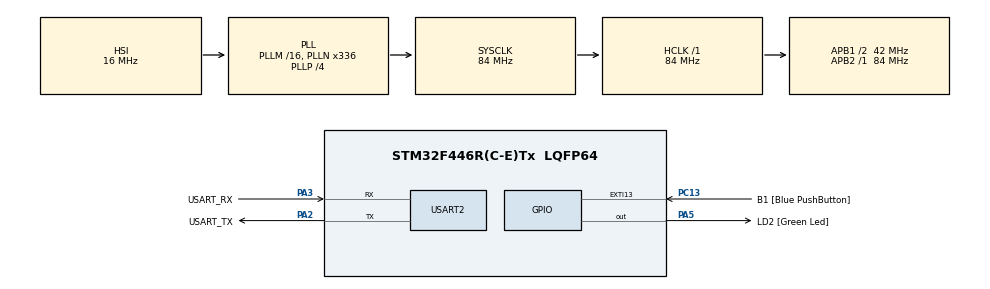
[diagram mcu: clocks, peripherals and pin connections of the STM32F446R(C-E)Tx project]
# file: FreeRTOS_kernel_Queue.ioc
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Mcu.Family=STM32F4
Mcu.Name=STM32F446R(C-E)Tx
Mcu.Package=LQFP64
NVIC.EXTI15_10_IRQn=true\:0\:0\:false\:false\:true\:true\:true\:true
NVIC.PriorityGroup=NVIC_PRIORITYGROUP_4
NVIC.TIM6_DAC_IRQn=true\:0\:0\:false\:false\:true\:false\:true\:true
NVIC.TimeBase=TIM6_DAC_IRQn
NVIC.TimeBaseIP=TIM6
PA13.GPIO_Label=TMS
PA13.Mode=Serial_Wire
PA13.Signal=SYS_JTMS-SWDIO
PA14.GPIO_Label=TCK
PA14.Mode=Serial_Wire
PA14.Signal=SYS_JTCK-SWCLK
PA2.GPIO_Label=USART_TX
PA2.Mode=Asynchronous
PA2.Signal=USART2_TX
PA3.GPIO_Label=USART_RX
PA3.Mode=Asynchronous
PA3.Signal=USART2_RX
PA5.GPIO_Label=LD2 [Green Led]
PA5.Signal=GPIO_Output
PB3.GPIO_Label=SWO
PB3.Signal=SYS_JTDO-SWO
PC13.GPIO_Label=B1 [Blue PushButton]
PC13.GPIO_ModeDefaultEXTI=GPIO_MODE_IT_FALLING
PC13.Signal=GPXTI13
PC14-OSC32_IN.Mode=LSE-External-Oscillator
PC14-OSC32_IN.Signal=RCC_OSC32_IN
PC15-OSC32_OUT.Mode=LSE-External-Oscillator
PC15-OSC32_OUT.Signal=RCC_OSC32_OUT
PH0-OSC_IN.Mode=HSE-External-Oscillator
PH0-OSC_IN.Signal=RCC_OSC_IN
PH1-OSC_OUT.Mode=HSE-External-Oscillator
PH1-OSC_OUT.Signal=RCC_OSC_OUT
ProjectManager.HeapSize=0x200
ProjectManager.StackSize=0x400
ProjectManager.TargetToolchain=STM32CubeIDE
RCC.48MHZClocksFreq_Value=84000000
RCC.AHBFreq_Value=84000000
RCC.APB1CLKDivider=RCC_HCLK_DIV2
RCC.APB1Freq_Value=42000000
RCC.APB1TimFreq_Value=84000000
RCC.APB2Freq_Value=84000000
RCC.APB2TimFreq_Value=84000000
RCC.CortexFreq_Value=84000000
RCC.FLatency-AdvancedSettings=FLASH_LATENCY_2
RCC.HCLKFreq_Value=84000000
RCC.HSE_VALUE=8000000
RCC.HSI_VALUE=16000000
RCC.PLLN=336
RCC.PLLP=RCC_PLLP_DIV4
RCC.SYSCLKFreq_VALUE=84000000
RCC.SYSCLKSource=RCC_SYSCLKSOURCE_PLLCLK
RCC.USBFreq_Value=168000000
RCC.VCOOutputFreq_Value=336000000
USART2.VirtualMode=VM_ASYNC
VP_SYS_VS_tim6.Mode=TIM6
board=NUCLEO-F446RE

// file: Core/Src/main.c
/* USER CODE BEGIN Header */
/**
  ******************************************************************************
  * @file           : main.c
  * @brief          : Main program body
  ******************************************************************************
  * @attention
  *
  * Copyright (c) 2025 STMicroelectronics.
  * All rights reserved.
  *
  * This software is licensed under terms that can be found in the LICENSE file
  * in the root directory of this software component.
  * If no LICENSE file comes with this software, it is provided AS-IS.
  *
  ******************************************************************************
  */
/* USER CODE END Header */
#include "main.h"

/* USER CODE BEGIN Includes */
#include "FreeRTOS.h"
#include "task.h"
#include "queue.h"
#include <string.h>
#include <stdio.h>
/* USER CODE END Includes */

UART_HandleTypeDef huart2;

/* USER CODE BEGIN PV */

QueueHandle_t buttonQueue;   // Queue handle

typedef struct
{
    uint8_t ledState;
    uint32_t timestamp;
} ButtonEvent;

/* USER CODE END PV */

void SystemClock_Config(void);
static void MX_GPIO_Init(void);
static void MX_USART2_UART_Init(void);
/* USER CODE BEGIN PFP */

void LED_Task(void *pvParameters);
void UART_Task(void *pvParameters);

/* USER CODE END PFP */

int main(void)
{

  /* MCU Configuration--------------------------------------------------------*/

  /* Reset of all peripherals, Initializes the Flash interface and the Systick. */
  HAL_Init();

  /* Configure the system clock */
  SystemClock_Config();

  /* Initialize all configured peripherals */
  MX_GPIO_Init();
  MX_USART2_UART_Init();
  /* USER CODE BEGIN 2 */

  // Create Queue - can hold 10 ButtonEvent structs
  buttonQueue = xQueueCreate(10, sizeof(ButtonEvent));
  configASSERT(buttonQueue != NULL);

  // Create Tasks
  xTaskCreate(LED_Task, "LED Task", 256, NULL, 2, NULL);
  xTaskCreate(UART_Task, "UART Task", 256, NULL, 2, NULL);

  // Start Scheduler
  vTaskStartScheduler();
  /* USER CODE END 2 */

  /* Infinite loop */
  while (1)
  {

  }
}

void SystemClock_Config(void)
{
  RCC_OscInitTypeDef RCC_OscInitStruct = {0};
  RCC_ClkInitTypeDef RCC_ClkInitStruct = {0};

  /** Configure the main internal regulator output voltage
  */
  __HAL_RCC_PWR_CLK_ENABLE();
  __HAL_PWR_VOLTAGESCALING_CONFIG(PWR_REGULATOR_VOLTAGE_SCALE3);

  /** Initializes the RCC Oscillators according to the specified parameters
  * in the RCC_OscInitTypeDef structure.
  */
  RCC_OscInitStruct.OscillatorType = RCC_OSCILLATORTYPE_HSI;
  RCC_OscInitStruct.HSIState = RCC_HSI_ON;
  RCC_OscInitStruct.HSICalibrationValue = RCC_HSICALIBRATION_DEFAULT;
  RCC_OscInitStruct.PLL.PLLState = RCC_PLL_ON;
  RCC_OscInitStruct.PLL.PLLSource = RCC_PLLSOURCE_HSI;
  RCC_OscInitStruct.PLL.PLLM = 16;
  RCC_OscInitStruct.PLL.PLLN = 336;
  RCC_OscInitStruct.PLL.PLLP = RCC_PLLP_DIV4;
  RCC_OscInitStruct.PLL.PLLQ = 2;
  RCC_OscInitStruct.PLL.PLLR = 2;
  if (HAL_RCC_OscConfig(&RCC_OscInitStruct) != HAL_OK)
  {
    Error_Handler();
  }

  /** Initializes the CPU, AHB and APB buses clocks
  */
  RCC_ClkInitStruct.ClockType = RCC_CLOCKTYPE_HCLK|RCC_CLOCKTYPE_SYSCLK
                              |RCC_CLOCKTYPE_PCLK1|RCC_CLOCKTYPE_PCLK2;
  RCC_ClkInitStruct.SYSCLKSource = RCC_SYSCLKSOURCE_PLLCLK;
  RCC_ClkInitStruct.AHBCLKDivider = RCC_SYSCLK_DIV1;
  RCC_ClkInitStruct.APB1CLKDivider = RCC_HCLK_DIV2;
  RCC_ClkInitStruct.APB2CLKDivider = RCC_HCLK_DIV1;

  if (HAL_RCC_ClockConfig(&RCC_ClkInitStruct, FLASH_LATENCY_2) != HAL_OK)
  {
    Error_Handler();
  }
}

static void MX_USART2_UART_Init(void)
{

  huart2.Instance = USART2;
  huart2.Init.BaudRate = 115200;
  huart2.Init.WordLength = UART_WORDLENGTH_8B;
  huart2.Init.StopBits = UART_STOPBITS_1;
  huart2.Init.Parity = UART_PARITY_NONE;
  huart2.Init.Mode = UART_MODE_TX_RX;
  huart2.Init.HwFlowCtl = UART_HWCONTROL_NONE;
  huart2.Init.OverSampling = UART_OVERSAMPLING_16;
  if (HAL_UART_Init(&huart2) != HAL_OK)
  {
    Error_Handler();
  }

}

static void MX_GPIO_Init(void)
{
  GPIO_InitTypeDef GPIO_InitStruct = {0};

  /* GPIO Ports Clock Enable */
  __HAL_RCC_GPIOC_CLK_ENABLE();
  __HAL_RCC_GPIOH_CLK_ENABLE();
  __HAL_RCC_GPIOA_CLK_ENABLE();
  __HAL_RCC_GPIOB_CLK_ENABLE();

  /*Configure GPIO pin Output Level */
  HAL_GPIO_WritePin(LD2_GPIO_Port, LD2_Pin, GPIO_PIN_RESET);

  /*Configure GPIO pin : B1_Pin */
  GPIO_InitStruct.Pin = B1_Pin;
  GPIO_InitStruct.Mode = GPIO_MODE_IT_FALLING;
  GPIO_InitStruct.Pull = GPIO_NOPULL;
  HAL_GPIO_Init(B1_GPIO_Port, &GPIO_InitStruct);

  /*Configure GPIO pin : LD2_Pin */
  GPIO_InitStruct.Pin = LD2_Pin;
  GPIO_InitStruct.Mode = GPIO_MODE_OUTPUT_PP;
  GPIO_InitStruct.Pull = GPIO_NOPULL;
  GPIO_InitStruct.Speed = GPIO_SPEED_FREQ_LOW;
  HAL_GPIO_Init(LD2_GPIO_Port, &GPIO_InitStruct);

  /* EXTI interrupt init*/
  HAL_NVIC_SetPriority(EXTI15_10_IRQn, 5, 0);
  HAL_NVIC_EnableIRQ(EXTI15_10_IRQn);

}

/* USER CODE BEGIN 4 */
void LED_Task(void *pvParameters)
{
    ButtonEvent evt;

    for (;;)
    {
        if (xQueueReceive(buttonQueue, &evt, portMAX_DELAY) == pdPASS)
        {
            // Toggle LED based on received state
            HAL_GPIO_WritePin(LD2_GPIO_Port, LD2_Pin, evt.ledState);
        }
    }
}

void UART_Task(void *pvParameters)
{
    ButtonEvent evt;
    char msg[50];

    for (;;)
    {
        if (xQueueReceive(buttonQueue, &evt, portMAX_DELAY) == pdPASS)
        {
            snprintf(msg, sizeof(msg), "Button pressed at %lu ms\r\n", evt.timestamp);
            HAL_UART_Transmit(&huart2, (uint8_t *)msg, strlen(msg), HAL_MAX_DELAY);
        }
    }
}

void HAL_GPIO_EXTI_Callback(uint16_t GPIO_Pin)
{
    if (GPIO_Pin == B1_Pin)
    {
        static uint8_t state = 0;
        ButtonEvent evt;

        state ^= 1;
        evt.ledState = state;
        evt.timestamp = HAL_GetTick();

        BaseType_t xHigherPriorityTaskWoken = pdFALSE;
        xQueueSendFromISR(buttonQueue, &evt, &xHigherPriorityTaskWoken);
        portYIELD_FROM_ISR(xHigherPriorityTaskWoken);
    }
}
/* USER CODE END 4 */

void HAL_TIM_PeriodElapsedCallback(TIM_HandleTypeDef *htim)
{
  if (htim->Instance == TIM6) {
    HAL_IncTick();
  }
}

void Error_Handler(void)
{
  __disable_irq();
  while (1)
  {
  }
}
